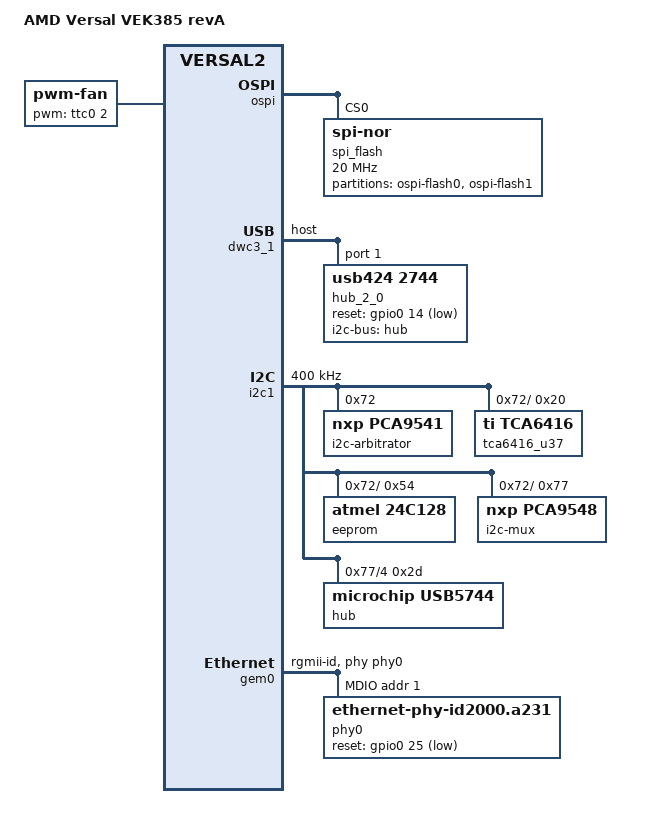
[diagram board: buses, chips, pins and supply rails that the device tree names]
// SPDX-License-Identifier: GPL-2.0
/*
 * dts file for AMD VEK385 revA
 *
 * Copyright (C) 2024, Advanced Micro Devices, Inc.
 *
 * Michal Simek <michal.simek@amd.com>
 */

#include "include/dt-bindings/gpio/gpio.h"
#include "include/dt-bindings/net/ti-dp83867.h"

/ {
	compatible = "amd,versal2-vek385-revA", "amd,versal2-vek385", "amd,versal2";
	model = "AMD Versal VEK385 revA";

	chosen {
		bootargs = "earlycon=pl011,mmio32,0xf1920000 console=ttyAMA0,115200";
		stdout-path = "serial0:115200n8";
	};

	reserved-memory {
		#address-cells = <2>;
		#size-cells = <2>;
		ranges;

		/* TF-A, TEE, RPUs */
		/* FIXME Uncomment after VNC */
		/* res: memory@0 {
			no-map;
			reg = <0 0 0 0x20000000>;
		};
		*/
	};

	pwm-fan {
		compatible = "pwm-fan";
		status = "okay";
		pwms = <&ttc0 2 40000 1>;
	};
};

/* u272 - TPS66993BAR usb, i2c, DP */
/* CAN at LPD_MIO12-13 FIXME */
/* CAN at LPD_MIO21-22 FIXME */

&ospi { /* PMC_MIO0-10, MIO12 */
	reset-names = "qspi";
	#address-cells = <1>;
	#size-cells = <0>;

	spi_flash: flash@0 {
		compatible = "jedec,spi-nor"; /* u25 */
		spi-max-frequency = <20000000>; /* FIXME maybe wrong */
		spi-rx-bus-width = <8>;
		spi-tx-bus-width = <8>;
		cdns,tslch-ns = <1>;
		cdns,tchsh-ns = <1>;
		cdns,tsd2d-ns = <0>;
		cdns,tshsl-ns = <0>;
		cdns,read-delay = <0>;
		reg = <0>;
		no-wp;
		broken-flash-reset;

		partitions {
			#size-cells = <1>;
			#address-cells = <1>;
			compatible = "fixed-partitions";

			partition@0 {
				reg = <0x0 0x200000>;
				label = "ospi-flash0";
			};

			partition@1 {
				reg = <0x200000 0x3e00000>;
				label = "ospi-flash1";
			};
		};
	};
};

&usb1 {
	dma-coherent;
};

&dwc3_1 {
	dr_mode = "host";
	maximum-speed = "high-speed";
	dma-coherent;
	#address-cells = <1>;
	#size-cells = <0>;

	/* 2.0 hub on port 1 */
	hub_2_0: hub@1 {
		compatible = "usb424,2744";
		reg = <1>;
		i2c-bus = <&hub>;
		reset-gpios = <&gpio0 14 GPIO_ACTIVE_LOW>;
	};
	/* USB 3.0 is not connected */
	/* port 0 u109 USB-SD converter */
	/* port 1/2 to connector */
};

&i2c0 { /* PMC_MIO42-43 */
	/* board_i2c0 - FMC */
};

&i2c1 { /* PMC_MIO44-45 */
	#address-cells = <1>;
	#size-cells = <0>;
	bootph-all;
	clock-frequency = <400000>;

	i2c-arbitrator@72 { /* u161 */
		compatible = "nxp,pca9541";
		#address-cells = <1>;
		#size-cells = <0>;
		bootph-all;
		reg = <0x72>;

		/* board_i2c1 */
		i2c-arb {
			#address-cells = <1>;
			#size-cells = <0>;
			/*
			 * WARNING: Potential Conflict!
			 * The TCA6416 GPIO expander device is currently owned by SC as well.
			 * This design results in two software components potentially conflicting
			 * over control of the device. While no immediate issues are observed
			 * due to limited interactions.
			 * FIXME - The schematics should be revised to avoid conflicts.
			 */
			tca6416_u37: gpio@20 {
				compatible = "ti,tca6416";
				reg = <0x20>;
				#gpio-cells = <0x02>;
				gpio-controller;
			};
			eeprom: eeprom@54 { /* u35 - also at address 0x5C */
				compatible = "atmel,24c128";
				bootph-all;
				reg = <0x54>;
				/* wp via SC */
			};

			i2c-mux@77 { /* u253 */
				compatible = "nxp,pca9548";
				#address-cells = <1>;
				#size-cells = <0>;
				reg = <0x77>;
				i2c-mux-idle-disconnect;
				i2c@0 {
					#address-cells = <1>;
					#size-cells = <0>;
					reg = <0>;
					/* qsfp1 */
				};
				i2c@1 {
					#address-cells = <1>;
					#size-cells = <0>;
					reg = <1>;
					/* sfp */
				};
				i2c@2 {
					#address-cells = <1>;
					#size-cells = <0>;
					reg = <2>;
					/* usbdp */
					/* u272 tps66993 FIXME */
				};
				i2c@3 {
					#address-cells = <1>;
					#size-cells = <0>;
					reg = <3>;
					/* pcie_rp */
				};
				i2c@4 {
					#address-cells = <1>;
					#size-cells = <0>;
					reg = <4>;
					/* usb0_hub */
					hub: usb-hub@2d { /* u111 */
						compatible = "microchip,usb5744";
						reg = <0x2d>;
					};

				};
				/* 5 - 7 not connected */
			};
		};
	};
};

&ttc0 { /* PMC_MIO49 FAN_PWM */
	#pwm-cells = <3>;
};

&adma0 {
	dma-coherent;
};

&adma1 {
	dma-coherent;
};

&adma2 {
	dma-coherent;
};

&adma3 {
	dma-coherent;
};

&adma4 {
	dma-coherent;
};

&adma5 {
	dma-coherent;
};

&adma6 {
	dma-coherent;
};

&adma7 {
	dma-coherent;
};

&gem0 { /* MDIO PMC_MIO50/51, MIO0-11 */
	phy-handle = <&phy0>;
	phy-mode = "rgmii-id";
	dma-coherent;

	mdio: mdio {
		#address-cells = <1>;
		#size-cells = <0>;

		phy0: ethernet-phy@1 { /* u112 */
			#phy-cells = <1>;
			reg = <1>;
			compatible = "ethernet-phy-id2000.a231";
			ti,rx-internal-delay = <DP83867_RGMIIDCTL_2_25_NS>;
			ti,tx-internal-delay = <DP83867_RGMIIDCTL_2_75_NS>;
			ti,fifo-depth = <DP83867_PHYCR_FIFO_DEPTH_4_B_NIB>;
			ti,dp83867-rxctrl-strap-quirk;
			reset-assert-us = <100>;
			reset-deassert-us = <280>;
			reset-gpios = <&gpio0 25 GPIO_ACTIVE_LOW>;
		};
	};
};

&mdb_pcie0 {
	pcie@0,0 {
		device_type = "pci";
		reg = <0x0 0x0 0x0 0x0 0x0>;
		reset-gpios = <&tca6416_u37 7 GPIO_ACTIVE_LOW>;
		#address-cells = <3>;
		#size-cells = <2>;
		ranges;
	};
};

&mmi_10gbe {
	phy-mode = "10gbase-r";
	fixed-link {
		speed = <10000>;
		full-duplex;
	};
};
